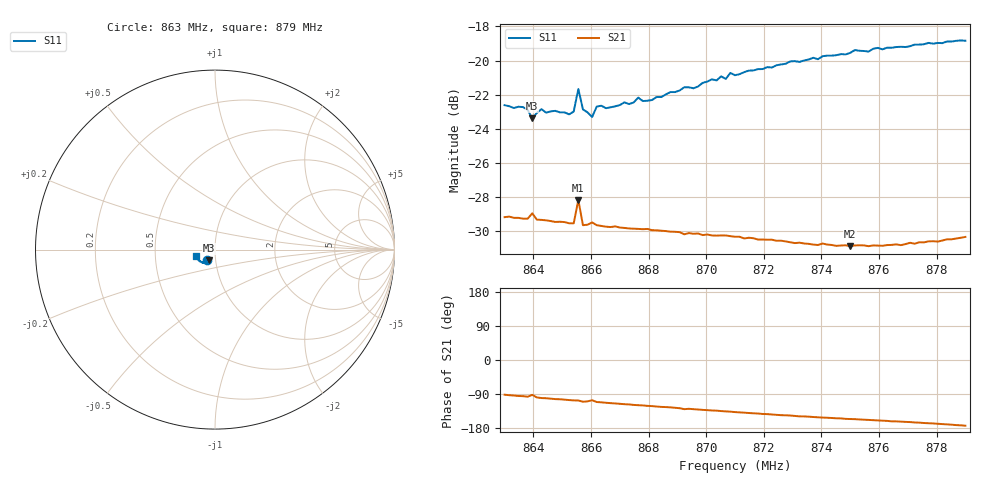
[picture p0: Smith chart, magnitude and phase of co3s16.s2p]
# HZ S RI R 50
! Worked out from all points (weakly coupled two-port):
!   101 points, 863 MHz to 879 MHz, reference 50 ohm
!   highest |S21| = -28.15 dB at 865.56 MHz (marker M1); lowest = -30.9 dB at 875 MHz (marker M2)
!   lowest |S11| = -23.4 dB at 863.96 MHz (marker M3), VSWR 1.15, Z = 46.6 - j5.57 ohm
!   |S11| at or under -10 dB: start of sweep to end of sweep
!   S12 and S22 are empty: the file has one direction only
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8.63e8  -0.0443 -0.0593  -0.000993 -0.0348  0 0  0 0
8.6364e8  -0.043 -0.0591  -0.00326 -0.0343  0 0  0 0
8.6396e8  -0.0323 -0.0595  -0.00122 -0.0357  0 0  0 0
8.6412e8  -0.0403 -0.0575  -0.00521 -0.0338  0 0  0 0
8.6428e8  -0.0405 -0.0596  -0.00619 -0.0336  0 0  0 0
8.6444e8  -0.0404 -0.0576  -0.00643 -0.0335  0 0  0 0
8.654e8  -0.0376 -0.0601  -0.00954 -0.032  0 0  0 0
8.6556e8  -0.0376 -0.0735  -0.0113 -0.0375  0 0  0 0
8.6572e8  -0.0383 -0.0609  -0.0113 -0.031  0 0  0 0
8.6604e8  -0.0311 -0.0609  -0.00936 -0.0323  0 0  0 0
8.662e8  -0.0386 -0.0624  -0.0118 -0.0308  0 0  0 0
8.6652e8  -0.0393 -0.061  -0.0127 -0.0301  0 0  0 0
8.6764e8  -0.0397 -0.067  -0.0157 -0.0281  0 0  0 0
8.6844e8  -0.0402 -0.0671  -0.0177 -0.0264  0 0  0 0
8.7052e8  -0.0512 -0.0739  -0.0217 -0.0219  0 0  0 0
8.7068e8  -0.0504 -0.0726  -0.022 -0.0215  0 0  0 0
8.7084e8  -0.0579 -0.0715  -0.0221 -0.0212  0 0  0 0
8.71e8  -0.0524 -0.0739  -0.0225 -0.0206  0 0  0 0
8.7372e8  -0.0722 -0.0719  -0.0252 -0.0143  0 0  0 0
8.75e8  -0.0828 -0.065  -0.0261 -0.0118  0 0  0 0
8.7644e8  -0.0922 -0.058  -0.0275 -0.00896  0 0  0 0
8.79e8  -0.1083 -0.0362  -0.0303 -0.00349  0 0  0 0
